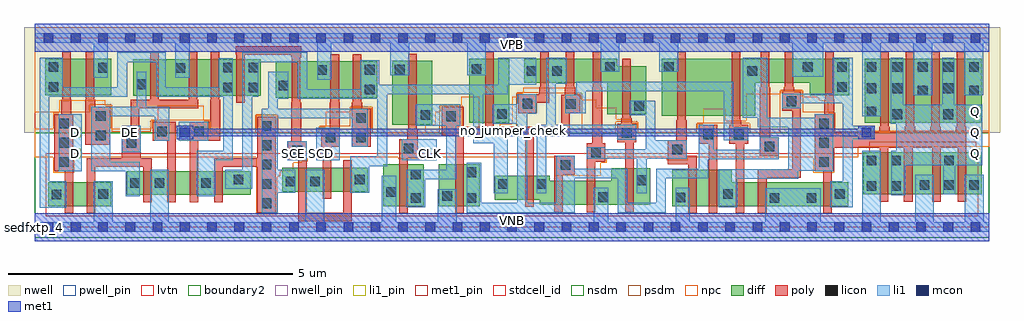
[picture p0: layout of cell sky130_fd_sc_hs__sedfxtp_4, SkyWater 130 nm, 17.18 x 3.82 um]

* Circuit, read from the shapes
.subckt sky130_fd_sc_hs__sedfxtp_4 CLK D DE Q SCD SCE VGND VNB VPB VPWR
XM1 n1 D n2 VNB sky130_fd_pr__nfet_01v8_lvt w=0.42 l=0.15
XM2 VGND DE n1 VNB sky130_fd_pr__nfet_01v8_lvt w=0.42 l=0.15
XM3 VGND DE n3 VNB sky130_fd_pr__nfet_01v8_lvt w=0.42 l=0.15
XM4 n4 n3 VGND VNB sky130_fd_pr__nfet_01v8_lvt w=0.42 l=0.15
XM5 n2 n5 n4 VNB sky130_fd_pr__nfet_01v8_lvt w=0.42 l=0.15
XM6 n6 n7 n2 VNB sky130_fd_pr__nfet_01v8_lvt w=0.42 l=0.15
XM7 VGND SCE n7 VNB sky130_fd_pr__nfet_01v8_lvt w=0.42 l=0.15
XM8 n8 SCD VGND VNB sky130_fd_pr__nfet_01v8_lvt w=0.42 l=0.15
XM9 n6 SCE n8 VNB sky130_fd_pr__nfet_01v8_lvt w=0.42 l=0.15
XM10 n9 CLK VGND VNB sky130_fd_pr__nfet_01v8_lvt w=0.74 l=0.15
XM11 n10 n9 VGND VNB sky130_fd_pr__nfet_01v8_lvt w=0.74 l=0.15
XM12 n11 n9 n6 VNB sky130_fd_pr__nfet_01v8_lvt w=0.42 l=0.15
XM13 n12 n10 n11 VNB sky130_fd_pr__nfet_01v8_lvt w=0.42 l=0.15
XM14 VGND n13 n12 VNB sky130_fd_pr__nfet_01v8_lvt w=0.42 l=0.15
XM15 n13 n11 VGND VNB sky130_fd_pr__nfet_01v8_lvt w=0.64 l=0.15
XM16 n14 n13 VGND VNB sky130_fd_pr__nfet_01v8_lvt w=0.64 l=0.15
XM17 n15 n10 n14 VNB sky130_fd_pr__nfet_01v8_lvt w=0.64 l=0.15
XM18 n16 n9 n15 VNB sky130_fd_pr__nfet_01v8_lvt w=0.42 l=0.15
XM19 VGND n5 n16 VNB sky130_fd_pr__nfet_01v8_lvt w=0.42 l=0.15
XM20 n5 n15 VGND VNB sky130_fd_pr__nfet_01v8_lvt w=0.42 l=0.15
XM21 Q n15 VGND VNB sky130_fd_pr__nfet_01v8_lvt w=0.74 l=0.15 m=4
XM22 n17 D n2 VPB sky130_fd_pr__pfet_01v8 w=0.64 l=0.15
XM23 VPWR n3 n17 VPB sky130_fd_pr__pfet_01v8 w=0.64 l=0.15
XM24 VPWR DE n3 VPB sky130_fd_pr__pfet_01v8 w=0.64 l=0.15
XM25 n18 DE VPWR VPB sky130_fd_pr__pfet_01v8 w=0.64 l=0.15
XM26 n2 n5 n18 VPB sky130_fd_pr__pfet_01v8 w=0.64 l=0.15
XM27 n6 SCE n2 VPB sky130_fd_pr__pfet_01v8 w=0.64 l=0.15
XM28 VPWR SCE n7 VPB sky130_fd_pr__pfet_01v8 w=0.64 l=0.15
XM29 n19 SCD VPWR VPB sky130_fd_pr__pfet_01v8 w=0.64 l=0.15
XM30 n6 n7 n19 VPB sky130_fd_pr__pfet_01v8 w=0.64 l=0.15
XM31 n9 CLK VPWR VPB sky130_fd_pr__pfet_01v8 w=1.12 l=0.15
XM32 n10 n9 VPWR VPB sky130_fd_pr__pfet_01v8 w=1.12 l=0.15
XM33 n11 n10 n6 VPB sky130_fd_pr__pfet_01v8 w=0.42 l=0.15
XM34 n20 n9 n11 VPB sky130_fd_pr__pfet_01v8 w=0.42 l=0.15
XM35 VPWR n13 n20 VPB sky130_fd_pr__pfet_01v8 w=0.42 l=0.15
XM36 n13 n11 VPWR VPB sky130_fd_pr__pfet_01v8 w=0.84 l=0.15
XM37 n21 n13 VPWR VPB sky130_fd_pr__pfet_01v8 w=1 l=0.15
XM38 n15 n9 n21 VPB sky130_fd_pr__pfet_01v8 w=1 l=0.15
XM39 n22 n10 n15 VPB sky130_fd_pr__pfet_01v8 w=0.42 l=0.15
XM40 VPWR n5 n22 VPB sky130_fd_pr__pfet_01v8 w=0.42 l=0.15
XM41 n5 n15 VPWR VPB sky130_fd_pr__pfet_01v8 w=0.64 l=0.15
XM42 Q n15 VPWR VPB sky130_fd_pr__pfet_01v8 w=1.12 l=0.15 m=4
.ends

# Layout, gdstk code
import gdstk
lib = gdstk.Library(unit=1e-6, precision=1e-09)
def R(c, l, rs):  # rectangles x0, y0, x1, y1
    for r in rs: c.add(gdstk.rectangle(r[:2], r[2:], *l))
def A(c, l, x, y, w, h, nx, ny, dx, dy):  # array of equal rectangles
    R(c, l, [(x+i*dx, y+j*dy, x+i*dx+w, y+j*dy+h) for i in range(nx) for j in range(ny)])
def P(c, l, *ps):  # polygons
    for p in ps: c.add(gdstk.Polygon(p, *l))
nwell_pin = (64, 16)
nwell = (64, 20)
diff = (65, 20)
poly = (66, 20)
licon = (66, 44)
li1_pin = (67, 16)
li1 = (67, 20)
mcon = (67, 44)
met1_pin = (68, 16)
met1 = (68, 20)
stdcell_id = (81, 4)
nsdm = (93, 44)
psdm = (94, 20)
npc = (95, 20)
pwell_pin = (122, 16)
lvtn = (125, 44)
boundary2 = (236, 0)

sky130_fd_sc_hs__sedfxtp = lib.new_cell('sky130_fd_sc_hs__sedfxtp_4')
R(sky130_fd_sc_hs__sedfxtp, nwell_pin, [(0,3.085,16.8,3.33)])
P(sky130_fd_sc_hs__sedfxtp, nwell, [(16.99,3.52),(-0.19,3.52),(-0.19,1.66),(6.115,1.66),(6.115,1.625),(7.18,1.625),(7.18,1.66),(16.99,1.66)])
R(sky130_fd_sc_hs__sedfxtp, diff, [(0.24,0.37,1.35,0.79), (6.13,0.37,6.845,1.11), (7.115,0.37,7.83,1.11), (1.62,0.565,3.805,0.985), (14.585,0.58,16.665,1.32), (4.355,0.625,5.86,1.045), (6.295,1.805,7,2.925), (7.65,1.84,8.35,2.96), (14.605,1.84,16.665,2.96), (4.245,2.275,6.025,2.915), (1.735,2.315,3.975,2.955), (0.185,2.32,1.345,2.96)])
P(sky130_fd_sc_hs__sedfxtp, diff, [(10.765,2.83),(10.25,2.83),(10.25,2.96),(8.62,2.96),(8.62,2.54),(10.075,2.54),(10.075,1.99),(10.765,1.99)],
  [(10.83,1.035),(10.145,1.035),(10.145,0.815),(9.065,0.815),(9.065,0.905),(8.1,0.905),(8.1,0.485),(8.89,0.485),(8.89,0.395),(10.83,0.395)],
  [(14.315,0.79),(12.265,0.79),(12.265,1.01),(11.22,1.01),(11.22,0.37),(14.315,0.37)],
  [(14.335,2.96),(11.035,2.96),(11.035,1.96),(12.685,1.96),(12.685,2.54),(13.645,2.54),(13.645,2.32),(14.335,2.32)])
P(sky130_fd_sc_hs__sedfxtp, poly, [(0.675,1.99),(0.645,1.99),(0.645,2.245),(0.63,2.245),(0.63,3.09),(0.48,3.09),(0.48,2.245),(0.465,2.245),(0.465,1.99),(0.345,1.99),(0.345,0.98),(0.525,0.98),(0.525,0.24),(0.675,0.24)],
  [(1.325,2.12),(1.065,2.12),(1.065,2.245),(1.05,2.245),(1.05,3.09),(0.9,3.09),(0.9,2.245),(0.885,2.245),(0.885,1.45),(1.325,1.45)],
  [(2.485,1.85),(2.075,1.85),(2.075,1.52),(2.335,1.52),(2.335,0.435),(2.485,0.435)],
  [(2.875,2.24),(2.86,2.24),(2.86,3.085),(2.71,3.085),(2.71,2.24),(2.18,2.24),(2.18,3.085),(2.03,3.085),(2.03,2.24),(1.685,2.24),(1.685,1.65),(1.535,1.65),(1.535,1.21),(0.915,1.21),(0.915,0.24),(1.065,0.24),(1.065,1.06),(1.905,1.06),(1.905,0.435),(2.055,0.435),(2.055,1.21),(1.865,1.21),(1.865,1.65),(1.835,1.65),(1.835,2.09),(2.875,2.09)],
  [(3.265,2.24),(3.25,2.24),(3.25,3.085),(3.1,3.085),(3.1,2.24),(3.085,2.24),(3.085,1.85),(2.725,1.85),(2.725,0.435),(2.875,0.435),(2.875,1.52),(3.265,1.52)],
  [(4.245,1.945),(3.915,1.945),(3.915,1.21),(3.155,1.21),(3.155,0.435),(3.305,0.435),(3.305,1.06),(3.915,1.06),(3.915,0.255),(4.245,0.255)],
  [(5.37,2.2),(5.355,2.2),(5.355,3.045),(5.205,3.045),(5.205,2.2),(5.19,2.2),(5.19,1.745),(5.04,1.745),(5.04,1.415),(5.07,1.415),(5.07,0.495),(5.22,0.495),(5.22,1.415),(5.37,1.415)],
  [(5.58,1.175),(5.43,1.175),(5.43,0.255),(4.79,0.255),(4.79,1.51),(4.69,1.51),(4.69,2.2),(4.675,2.2),(4.675,2.99),(4.69,2.99),(4.69,3.18),(3.535,3.18),(3.535,3.03),(3.55,3.03),(3.55,2.185),(3.7,2.185),(3.7,3.03),(4.51,3.03),(4.51,2.99),(4.525,2.99),(4.525,2.2),(4.51,2.2),(4.51,1.51),(4.455,1.51),(4.455,1.18),(4.64,1.18),(4.64,0.105),(5.58,0.105)],
  [(5.91,2.085),(5.76,2.085),(5.76,2.2),(5.745,2.2),(5.745,3.045),(5.595,3.045),(5.595,2.2),(5.58,2.2),(5.58,1.415),(5.91,1.415)],
  [(6.745,1.55),(6.74,1.55),(6.74,1.73),(6.725,1.73),(6.725,3.055),(6.575,3.055),(6.575,1.73),(6.56,1.73),(6.56,1.55),(6.415,1.55),(6.415,0.24),(6.565,0.24),(6.565,1.22),(6.745,1.22)],
  [(9.06,2.465),(9.045,2.465),(9.045,3.09),(8.895,3.09),(8.895,2.465),(8.88,2.465),(8.88,2.335),(8.51,2.335),(8.51,2.005),(8.84,2.005),(8.84,2.185),(9.06,2.185)],
  [(9.505,1.255),(9.14,1.255),(9.14,0.265),(9.29,0.265),(9.29,0.925),(9.505,0.925)],
  [(9.6,2.33),(9.51,2.33),(9.51,2.465),(9.495,2.465),(9.495,3.09),(9.345,3.09),(9.345,2.465),(9.33,2.465),(9.33,2.33),(9.27,2.33),(9.27,1.765),(8.075,1.765),(8.075,3.09),(7.925,3.09),(7.925,1.765),(7.55,1.765),(7.55,2.115),(7.16,2.115),(7.16,1.615),(7.4,1.615),(7.4,0.24),(7.55,0.24),(7.55,1.615),(8.63,1.615),(8.63,0.355),(8.78,0.355),(8.78,1.615),(9.42,1.615),(9.42,2),(9.6,2)],
  [(10.045,1.48),(9.99,1.48),(9.99,2.465),(9.975,2.465),(9.975,3.09),(9.825,3.09),(9.825,2.465),(9.81,2.465),(9.81,1.48),(9.715,1.48),(9.715,0.265),(9.865,0.265),(9.865,1.15),(10.045,1.15)],
  [(10.585,1.82),(10.505,1.82),(10.505,1.915),(10.49,1.915),(10.49,2.96),(10.34,2.96),(10.34,1.915),(10.325,1.915),(10.325,1.82),(10.255,1.82),(10.255,1.49),(10.395,1.49),(10.395,0.265),(10.545,0.265),(10.545,1.49),(10.585,1.49)],
  [(11.655,1.26),(11.475,1.26),(11.475,1.885),(11.46,1.885),(11.46,3.09),(11.31,3.09),(11.31,1.885),(11.295,1.885),(11.295,1.53),(11.145,1.53),(11.145,1.11),(11.505,1.11),(11.505,0.24),(11.655,0.24)],
  [(12.015,1.8),(11.685,1.8),(11.685,1.47),(11.865,1.47),(11.865,0.24),(12.015,0.24)],
  [(12.555,1.8),(12.435,1.8),(12.435,1.885),(12.42,1.885),(12.42,3.09),(12.27,3.09),(12.27,1.885),(12.255,1.885),(12.255,1.8),(12.225,1.8),(12.225,1.47),(12.34,1.47),(12.34,0.24),(12.49,0.24),(12.49,1.47),(12.555,1.47)],
  [(13.095,1.585),(12.945,1.585),(12.945,2.465),(12.93,2.465),(12.93,3.09),(12.78,3.09),(12.78,2.465),(12.765,2.465),(12.765,1.255),(13.095,1.255)],
  [(13.485,2.38),(13.365,2.38),(13.365,2.465),(13.35,2.465),(13.35,3.09),(13.2,3.09),(13.2,2.465),(13.185,2.465),(13.185,2.38),(13.155,2.38),(13.155,2.05),(13.335,2.05),(13.335,1.015),(12.73,1.015),(12.73,0.24),(12.88,0.24),(12.88,0.865),(13.485,0.865)],
  [(16.395,1.765),(16.38,1.765),(16.38,3.09),(16.23,3.09),(16.23,1.765),(16.215,1.765),(16.215,1.68),(15.945,1.68),(15.945,1.765),(15.93,1.765),(15.93,3.09),(15.78,3.09),(15.78,1.765),(15.765,1.765),(15.765,1.68),(15.495,1.68),(15.495,1.765),(15.48,1.765),(15.48,3.09),(15.33,3.09),(15.33,1.765),(15.315,1.765),(15.315,1.68),(15.045,1.68),(15.045,1.765),(15.03,1.765),(15.03,3.09),(14.88,3.09),(14.88,1.765),(14.865,1.765),(14.865,1.68),(14.075,1.68),(14.075,2.245),(14.06,2.245),(14.06,3.09),(13.91,3.09),(13.91,2.245),(13.895,2.245),(13.895,1.99),(13.725,1.99),(13.725,0.98),(13.88,0.98),(13.88,0.24),(14.03,0.24),(14.03,0.98),(14.075,0.98),(14.075,1.395),(14.87,1.395),(14.87,0.45),(15.02,0.45),(15.02,1.395),(15.3,1.395),(15.3,0.45),(15.45,0.45),(15.45,1.395),(15.8,1.395),(15.8,0.45),(15.95,0.45),(15.95,1.395),(16.245,1.395),(16.245,0.45),(16.395,0.45)])
A(sky130_fd_sc_hs__sedfxtp, licon, 3.995, 0.335, 0.17, 0.17, 1, 5, 0, 0.34)
A(sky130_fd_sc_hs__sedfxtp, licon, 0.425, 1.06, 0.17, 0.17, 1, 3, 0, 0.34)
A(sky130_fd_sc_hs__sedfxtp, licon, 13.805, 1.06, 0.17, 0.17, 1, 3, 0, 0.34)
A(sky130_fd_sc_hs__sedfxtp, licon, 14.645, 2.73, 0.17, 0.17, 5, 1, 0.45, 0)
R(sky130_fd_sc_hs__sedfxtp, licon, [(6.62,0.43,6.79,0.6), (7.605,0.43,7.775,0.6), (12.935,0.43,13.105,0.6), (13.585,0.43,13.755,0.6), (11.28,0.435,11.45,0.605), (9.92,0.44,10.09,0.61), (7.175,0.465,7.345,0.635), (0.3,0.49,0.47,0.66), (1.12,0.495,1.29,0.665), (12.115,0.495,12.285,0.665), (14.085,0.495,14.255,0.665), (6.19,0.535,6.36,0.705), (14.645,0.64,14.815,0.81), (15.075,0.64,15.245,0.81), (15.575,0.655,15.745,0.825), (16.01,0.655,16.18,0.825), (16.45,0.655,16.62,0.825), (8.155,0.675,8.325,0.845), (8.835,0.675,9.005,0.845), (1.68,0.69,1.85,0.86), (2.11,0.69,2.28,0.86), (2.93,0.69,3.1,0.86), (4.415,0.72,4.585,0.89), (4.845,0.72,5.015,0.89), (10.6,0.74,10.77,0.91), (5.635,0.75,5.805,0.92), (3.5,0.755,3.67,0.925), (6.62,0.84,6.79,1.01), (7.605,0.88,7.775,1.05), (9.255,1.005,9.425,1.175), (14.645,1.09,14.815,1.26), (15.075,1.09,15.245,1.26), (16.01,1.09,16.18,1.26), (9.795,1.23,9.965,1.4), (4.535,1.26,4.705,1.43), (11.225,1.28,11.395,1.45), (6.495,1.3,6.665,1.47), (12.845,1.335,13.015,1.505), (1.615,1.4,1.785,1.57), (5.12,1.495,5.29,1.665), (5.66,1.495,5.83,1.665), (1.075,1.53,1.245,1.7), (11.765,1.55,11.935,1.72), (12.305,1.55,12.475,1.72), (10.335,1.57,10.505,1.74), (2.155,1.6,2.325,1.77), (2.805,1.6,2.975,1.77), (5.66,1.835,5.83,2.005), (7.24,1.865,7.41,2.035), (1.075,1.87,1.245,2.04), (6.79,1.89,6.96,2.06), (15.095,1.9,15.265,2.07), (15.995,1.9,16.165,2.07), (8.14,1.905,8.31,2.075), (14.645,1.95,14.815,2.12), (10.555,2.05,10.725,2.22), (9.35,2.08,9.52,2.25), (8.59,2.085,8.76,2.255), (13.235,2.13,13.405,2.3), (15.545,2.32,15.715,2.49), (16.445,2.32,16.615,2.49), (5.81,2.335,5.98,2.505), (14.645,2.36,14.815,2.53), (15.095,2.36,15.265,2.53), (15.995,2.36,16.165,2.53), (3.315,2.375,3.485,2.545), (3.765,2.375,3.935,2.545), (0.245,2.38,0.415,2.55), (14.125,2.38,14.295,2.55), (4.29,2.41,4.46,2.58), (1.795,2.43,1.965,2.6), (8.66,2.665,8.83,2.835), (9.11,2.665,9.28,2.835), (12.545,2.665,12.715,2.835), (4.97,2.68,5.14,2.85), (5.81,2.685,5.98,2.855), (6.34,2.685,6.51,2.855), (7.69,2.7,7.86,2.87), (2.475,2.715,2.645,2.885), (1.115,2.72,1.285,2.89), (3.315,2.725,3.485,2.895), (3.765,2.725,3.935,2.895), (0.245,2.73,0.415,2.9), (10.04,2.73,10.21,2.9), (11.075,2.73,11.245,2.9), (13.52,2.73,13.69,2.9), (14.125,2.73,14.295,2.9)])
A(sky130_fd_sc_hs__sedfxtp, li1_pin, 16.475, 1.21, 0.17, 0.17, 1, 3, 0, 0.37)
R(sky130_fd_sc_hs__sedfxtp, li1_pin, [(0.635,1.21,0.805,1.38), (4.475,1.21,4.645,1.38), (4.955,1.21,5.125,1.38), (6.875,1.21,7.045,1.38), (0.635,1.58,0.805,1.75), (1.595,1.58,1.765,1.75)])
R(sky130_fd_sc_hs__sedfxtp, li1, [(0.425,0.98,0.825,1.99), (4.445,1.18,4.785,1.51), (4.955,1.18,5.37,1.745), (6.455,1.18,7.075,1.55), (1.535,1.32,1.865,1.78), (2.535,1.52,3.055,1.85)])
P(sky130_fd_sc_hs__sedfxtp, li1, [(2.365,2.12),(1.965,2.12),(1.965,2.735),(1.795,2.735),(1.795,2.12),(0.995,2.12),(0.995,0.98),(1.6,0.98),(1.6,0.545),(1.85,0.545),(1.85,1.15),(1.325,1.15),(1.325,1.95),(2.115,1.95),(2.115,1.52),(2.365,1.52)],
  [(3.485,2.975),(3.235,2.975),(3.235,2.46),(2.305,2.46),(2.305,3.075),(1.455,3.075),(1.455,2.46),(0.495,2.46),(0.495,2.98),(0.085,2.98),(0.085,0.34),(0.55,0.34),(0.55,0.81),(0.255,0.81),(0.255,2.29),(1.625,2.29),(1.625,2.905),(2.135,2.905),(2.135,2.29),(3.315,2.29),(3.315,1.345),(2.85,1.345),(2.85,0.545),(3.18,0.545),(3.18,1.175),(3.485,1.175)],
  [(5.86,2.085),(4.275,2.085),(4.275,2.255),(4.46,2.255),(4.46,2.735),(4.105,2.735),(4.105,2.085),(3.995,2.085),(3.995,0.255),(4.275,0.255),(4.275,0.605),(4.585,0.605),(4.585,1.01),(4.275,1.01),(4.275,1.915),(5.58,1.915),(5.58,1.415),(5.86,1.415)],
  [(7.49,2.165),(6.71,2.165),(6.71,1.785),(7.245,1.785),(7.245,1.01),(6.54,1.01),(6.54,0.35),(6.87,0.35),(6.87,0.84),(7.415,0.84),(7.415,1.785),(7.49,1.785)],
  [(8.83,2.98),(8.155,2.98),(8.155,2.505),(6.06,2.505),(6.06,2.935),(5.73,2.935),(5.73,2.425),(4.8,2.425),(4.8,3.075),(3.655,3.075),(3.655,1.005),(3.35,1.005),(3.35,0.675),(3.825,0.675),(3.825,2.295),(3.935,2.295),(3.935,2.905),(4.63,2.905),(4.63,2.255),(6.03,2.255),(6.03,1.245),(5.555,1.245),(5.555,0.605),(5.885,0.605),(5.885,1.075),(6.2,1.075),(6.2,2.335),(7.72,2.335),(7.72,1.48),(8.075,1.48),(8.075,0.595),(8.325,0.595),(8.325,1.65),(7.89,1.65),(7.89,2.335),(8.325,2.335),(8.325,2.505),(8.83,2.505)],
  [(10.585,1.8),(9.17,1.8),(9.17,2.52),(9.36,2.52),(9.36,2.98),(9,2.98),(9,1.8),(8.835,1.8),(8.835,0.595),(9.005,0.595),(9.005,1.63),(10.255,1.63),(10.255,1.54),(10.585,1.54)],
  [(11.475,1.53),(10.925,1.53),(10.925,2.22),(10.475,2.22),(10.475,1.97),(10.755,1.97),(10.755,1.37),(10.045,1.37),(10.045,1.405),(9.715,1.405),(9.715,1.2),(10.6,1.2),(10.6,0.595),(10.77,0.595),(10.77,1.2),(11.475,1.2)],
  [(12.555,1.755),(12.295,1.755),(12.295,2.56),(9.53,2.56),(9.53,2.33),(9.34,2.33),(9.34,2),(9.7,2),(9.7,2.39),(12.125,2.39),(12.125,1.53),(12.555,1.53)],
  [(13.095,1.585),(12.765,1.585),(12.765,1.36),(11.955,1.36),(11.955,1.8),(11.685,1.8),(11.685,1.03),(10.94,1.03),(10.94,0.425),(10.43,0.425),(10.43,1.03),(9.505,1.03),(9.505,1.255),(9.175,1.255),(9.175,0.425),(8.665,0.425),(8.665,1.995),(8.83,1.995),(8.83,2.335),(8.495,2.335),(8.495,2.165),(8.06,2.165),(8.06,1.82),(8.495,1.82),(8.495,0.425),(7.855,0.425),(7.855,1.13),(7.605,1.13),(7.605,0.255),(9.505,0.255),(9.505,0.86),(10.26,0.86),(10.26,0.255),(11.11,0.255),(11.11,0.86),(11.855,0.86),(11.855,1.19),(13.095,1.19)],
  [(14.055,1.99),(13.725,1.99),(13.725,1.925),(12.895,1.925),(12.895,2.98),(12.465,2.98),(12.465,1.925),(12.725,1.925),(12.725,1.755),(13.265,1.755),(13.265,1.02),(12.035,1.02),(12.035,0.35),(12.365,0.35),(12.365,0.85),(13.435,0.85),(13.435,0.99),(13.725,0.99),(13.725,0.98),(14.055,0.98)],
  [(14.755,1.78),(14.395,1.78),(14.395,2.98),(14.045,2.98),(14.045,2.35),(13.155,2.35),(13.155,2.095),(13.485,2.095),(13.485,2.18),(14.225,2.18),(14.225,0.81),(14.005,0.81),(14.005,0.35),(14.395,0.35),(14.395,1.55),(14.755,1.55)],
  [(16.675,2.15),(16.185,2.15),(16.185,2.98),(15.97,2.98),(15.97,2.15),(15.285,2.15),(15.285,2.98),(15.065,2.98),(15.065,1.82),(15.165,1.82),(15.165,1.34),(15.075,1.34),(15.075,0.56),(15.325,0.56),(15.325,1.09),(15.995,1.09),(15.995,0.575),(16.2,0.575),(16.2,1.09),(16.675,1.09)],
  [(16.8,0.085),(16.7,0.085),(16.7,0.92),(16.37,0.92),(16.37,0.085),(15.825,0.085),(15.825,0.92),(15.495,0.92),(15.495,0.085),(14.895,0.085),(14.895,1.34),(14.565,1.34),(14.565,0.085),(13.835,0.085),(13.835,0.68),(12.855,0.68),(12.855,0.085),(11.53,0.085),(11.53,0.69),(11.28,0.69),(11.28,0.085),(10.09,0.085),(10.09,0.69),(9.84,0.69),(9.84,0.085),(7.425,0.085),(7.425,0.67),(7.095,0.67),(7.095,0.085),(6.36,0.085),(6.36,0.905),(6.11,0.905),(6.11,0.085),(5.095,0.085),(5.095,1.01),(4.765,1.01),(4.765,0.085),(2.36,0.085),(2.36,1.005),(2.03,1.005),(2.03,0.085),(1.37,0.085),(1.37,0.81),(1.04,0.81),(1.04,0.085),(0,0.085),(0,-0.085),(16.8,-0.085)],
  [(16.8,3.415),(0,3.415),(0,3.245),(1.035,3.245),(1.035,2.63),(1.285,2.63),(1.285,3.245),(2.475,3.245),(2.475,2.63),(2.725,2.63),(2.725,3.245),(4.97,3.245),(4.97,2.595),(5.22,2.595),(5.22,3.245),(6.26,3.245),(6.26,2.675),(6.59,2.675),(6.59,3.245),(7.61,3.245),(7.61,2.675),(7.94,2.675),(7.94,3.245),(9.96,3.245),(9.96,2.73),(10.29,2.73),(10.29,3.245),(10.995,3.245),(10.995,2.73),(11.325,2.73),(11.325,3.245),(13.335,3.245),(13.335,2.65),(13.875,2.65),(13.875,3.245),(14.565,3.245),(14.565,1.95),(14.895,1.95),(14.895,3.245),(15.465,3.245),(15.465,2.32),(15.795,2.32),(15.795,3.245),(16.365,3.245),(16.365,2.32),(16.695,2.32),(16.695,3.245),(16.8,3.245)])
A(sky130_fd_sc_hs__sedfxtp, mcon, 0.155, -0.085, 0.17, 0.17, 35, 2, 0.48, 3.33)
R(sky130_fd_sc_hs__sedfxtp, mcon, [(2.555,1.58,2.725,1.75), (14.555,1.58,14.725,1.75)])
R(sky130_fd_sc_hs__sedfxtp, met1_pin, [(0,0,16.8,0.245), (0,3.085,16.8,3.33)])
R(sky130_fd_sc_hs__sedfxtp, met1, [(0,-0.245,16.8,0.245), (0,3.085,16.8,3.575)])
P(sky130_fd_sc_hs__sedfxtp, met1, [(14.785,1.78),(14.495,1.78),(14.495,1.735),(2.785,1.735),(2.785,1.78),(2.495,1.78),(2.495,1.55),(2.785,1.55),(2.785,1.595),(14.495,1.595),(14.495,1.55),(14.785,1.55)])
R(sky130_fd_sc_hs__sedfxtp, stdcell_id, [(0,0,16.8,3.33)])
R(sky130_fd_sc_hs__sedfxtp, nsdm, [(0,-0.19,16.8,1.66)])
P(sky130_fd_sc_hs__sedfxtp, psdm, [(16.8,3.52),(0,3.52),(0,2.02),(0.965,2.02),(0.965,2.15),(1.355,2.15),(1.355,1.68),(2.045,1.68),(2.045,1.88),(3.085,1.88),(3.085,1.66),(3.885,1.66),(3.885,1.975),(4.275,1.975),(4.275,1.66),(5.01,1.66),(5.01,1.775),(5.55,1.775),(5.55,2.115),(5.94,2.115),(5.94,1.66),(7.13,1.66),(7.13,2.145),(7.52,2.145),(7.52,1.66),(8.48,1.66),(8.48,2.365),(8.87,2.365),(8.87,2.36),(9.63,2.36),(9.63,1.66),(10.225,1.66),(10.225,1.85),(10.615,1.85),(10.615,1.66),(11.655,1.66),(11.655,1.83),(12.585,1.83),(12.585,1.66),(13.125,1.66),(13.125,2.41),(13.515,2.41),(13.515,2.02),(14.085,2.02),(14.085,1.66),(16.8,1.66)])
P(sky130_fd_sc_hs__sedfxtp, npc, [(16.8,1.7),(14.465,1.7),(14.465,1.73),(14.075,1.73),(14.075,2.01),(13.97,2.01),(13.97,2.23),(13.805,2.23),(13.805,2.275),(13.77,2.275),(13.77,2.295),(13.505,2.295),(13.505,2.4),(13.135,2.4),(13.135,2.35),(12.525,2.35),(12.525,1.87),(12.165,1.87),(12.165,2.085),(11.77,2.085),(11.77,1.82),(11.665,1.82),(11.665,1.73),(10.605,1.73),(10.605,1.84),(10.5,1.84),(10.5,1.9),(10.235,1.9),(10.235,2.105),(9.885,2.105),(9.885,2.245),(9.62,2.245),(9.62,2.35),(9.515,2.35),(9.515,2.45),(8.595,2.45),(8.595,2.355),(8.49,2.355),(8.49,2.295),(8.4,2.295),(8.4,1.815),(8.18,1.815),(8.18,1.75),(7.82,1.75),(7.82,2.295),(7.51,2.295),(7.51,2.135),(7.14,2.135),(7.14,2.03),(7.05,2.03),(7.05,1.8),(6.875,1.8),(6.875,1.665),(6.155,1.665),(6.155,1.73),(5.93,1.73),(5.93,2.105),(5.56,2.105),(5.56,2.03),(5.125,2.03),(5.125,1.765),(5.02,1.765),(5.02,1.73),(4.265,1.73),(4.265,1.965),(3.895,1.965),(3.895,1.73),(3.075,1.73),(3.075,1.87),(2.97,1.87),(2.97,2.135),(2.16,2.135),(2.16,1.87),(2.055,1.87),(2.055,1.73),(1.345,1.73),(1.345,2.14),(1.24,2.14),(1.24,2.23),(0.43,2.23),(0.43,2.01),(0.325,2.01),(0.325,1.73),(0,1.73),(0,1.23),(0.325,1.23),(0.325,0.96),(0.695,0.96),(0.695,1.23),(3.895,1.23),(3.895,0.225),(4.265,0.225),(4.265,0.895),(4.325,0.895),(4.325,0.98),(4.55,0.98),(4.55,1.135),(4.7,1.135),(4.7,1.16),(4.805,1.16),(4.805,1.23),(6.395,1.23),(6.395,1.2),(6.765,1.2),(6.765,1.23),(9.155,1.23),(9.155,0.905),(9.96,0.905),(9.96,1.13),(10.065,1.13),(10.065,1.23),(11.125,1.23),(11.125,1.18),(11.495,1.18),(11.495,1.23),(13.705,1.23),(13.705,0.96),(14.075,0.96),(14.075,1.23),(14.495,1.23),(14.495,1.41),(16.8,1.41)])
R(sky130_fd_sc_hs__sedfxtp, pwell_pin, [(0,0,16.8,0.245)])
P(sky130_fd_sc_hs__sedfxtp, lvtn, [(16.61,1.3),(16.575,1.3),(16.575,1.5),(14.69,1.5),(14.69,1.3),(0.19,1.3),(0.19,0.19),(16.61,0.19)])
R(sky130_fd_sc_hs__sedfxtp, boundary2, [(0,0,16.8,3.33)])
sky130_fd_sc_hs__sedfxtp.add(gdstk.Label('sedfxtp_4', (0,0), layer=83, texttype=44))
sky130_fd_sc_hs__sedfxtp.add(gdstk.Label('no_jumper_check', (8.42,1.695), layer=83, texttype=44))
sky130_fd_sc_hs__sedfxtp.add(gdstk.Label('VNB', (8.4,0.123), layer=64, texttype=59))
sky130_fd_sc_hs__sedfxtp.add(gdstk.Label('VPB', (8.4,3.208), layer=64, texttype=5))
sky130_fd_sc_hs__sedfxtp.add(gdstk.Label('VPWR', (8.4,3.208), layer=68, texttype=5))
sky130_fd_sc_hs__sedfxtp.add(gdstk.Label('VGND', (8.4,0.123), layer=68, texttype=5))
sky130_fd_sc_hs__sedfxtp.add(gdstk.Label('SCE', (4.56,1.295), layer=67, texttype=5))
sky130_fd_sc_hs__sedfxtp.add(gdstk.Label('CLK', (6.96,1.295), layer=67, texttype=5))
sky130_fd_sc_hs__sedfxtp.add(gdstk.Label('D', (0.72,1.295), layer=67, texttype=5))
sky130_fd_sc_hs__sedfxtp.add(gdstk.Label('D', (0.72,1.665), layer=67, texttype=5))
sky130_fd_sc_hs__sedfxtp.add(gdstk.Label('DE', (1.68,1.665), layer=67, texttype=5))
sky130_fd_sc_hs__sedfxtp.add(gdstk.Label('SCD', (5.04,1.295), layer=67, texttype=5))
sky130_fd_sc_hs__sedfxtp.add(gdstk.Label('Q', (16.56,1.295), layer=67, texttype=5))
sky130_fd_sc_hs__sedfxtp.add(gdstk.Label('Q', (16.56,1.665), layer=67, texttype=5))
sky130_fd_sc_hs__sedfxtp.add(gdstk.Label('Q', (16.56,2.035), layer=67, texttype=5))

lib.write_gds('sky130_fd_sc_hs__sedfxtp_4.gds')
